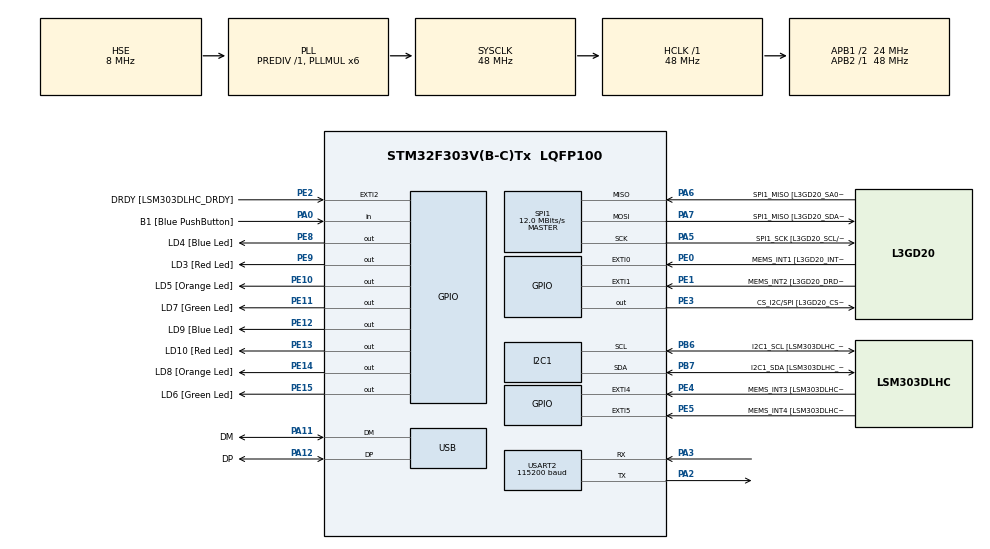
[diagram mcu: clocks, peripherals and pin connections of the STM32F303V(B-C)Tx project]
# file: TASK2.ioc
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I2C1.Timing=0x00201D2B
I2C1.Timing-I2C=0x2000090E
Mcu.Family=STM32F3
Mcu.Name=STM32F303V(B-C)Tx
Mcu.Package=LQFP100
NVIC.PriorityGroup=NVIC_PRIORITYGROUP_0
PA0.GPIO_Label=B1 [Blue PushButton]
PA0.Signal=GPIO_Input
PA11.GPIO_Label=DM
PA11.Mode=Device
PA11.Signal=USB_DM
PA12.GPIO_Label=DP
PA12.Mode=Device
PA12.Signal=USB_DP
PA13.GPIO_Label=SWDIO
PA13.Mode=Serial_Wire
PA13.Signal=SYS_JTMS-SWDIO
PA14.GPIO_Label=SWCLK
PA14.Mode=Serial_Wire
PA14.Signal=SYS_JTCK-SWCLK
PA2.Mode=Asynchronous
PA2.Signal=USART2_TX
PA3.Mode=Asynchronous
PA3.Signal=USART2_RX
PA5.GPIO_Label=SPI1_SCK [L3GD20_SCL/SPC]
PA5.Mode=Full_Duplex_Master
PA5.Signal=SPI1_SCK
PA6.GPIO_Label=SPI1_MISO [L3GD20_SA0/SDO]
PA6.Mode=Full_Duplex_Master
PA6.Signal=SPI1_MISO
PA7.GPIO_Label=SPI1_MISO [L3GD20_SDA/SDI/SDO]
PA7.Mode=Full_Duplex_Master
PA7.Signal=SPI1_MOSI
PB3.GPIO_Label=SWO
PB3.Signal=SYS_JTDO-TRACESWO
PB6.GPIO_Label=I2C1_SCL [LSM303DLHC_SCL]
PB6.GPIO_Pu=GPIO_PULLUP
PB6.Mode=I2C
PB6.Signal=I2C1_SCL
PB7.GPIO_Label=I2C1_SDA [LSM303DLHC_SDA]
PB7.GPIO_Pu=GPIO_PULLUP
PB7.Mode=I2C
PB7.Signal=I2C1_SDA
PC14-OSC32_IN.GPIO_Label=OSC32_IN
PC14-OSC32_IN.Signal=RCC_OSC32_IN
PC15-OSC32_OUT.GPIO_Label=OSC32_OUT
PC15-OSC32_OUT.Signal=RCC_OSC32_OUT
PE0.GPIO_Label=MEMS_INT1 [L3GD20_INT1]
PE0.GPIO_ModeDefaultEXTI=GPIO_MODE_EVT_RISING
PE0.Signal=GPXTI0
PE1.GPIO_Label=MEMS_INT2 [L3GD20_DRDY/INT2]
PE1.GPIO_ModeDefaultEXTI=GPIO_MODE_EVT_RISING
PE1.Signal=GPXTI1
PE10.GPIO_Label=LD5 [Orange Led]
PE10.Signal=GPIO_Output
PE11.GPIO_Label=LD7 [Green Led]
PE11.Signal=GPIO_Output
PE12.GPIO_Label=LD9 [Blue Led]
PE12.Signal=GPIO_Output
PE13.GPIO_Label=LD10 [Red Led]
PE13.Signal=GPIO_Output
PE14.GPIO_Label=LD8 [Orange Led]
PE14.Signal=GPIO_Output
PE15.GPIO_Label=LD6 [Green Led]
PE15.Signal=GPIO_Output
PE2.GPIO_Label=DRDY [LSM303DLHC_DRDY]
PE2.GPIO_ModeDefaultEXTI=GPIO_MODE_EVT_RISING
PE2.Signal=GPXTI2
PE3.GPIO_Label=CS_I2C/SPI [L3GD20_CS_I2C/SPI]
PE3.Signal=GPIO_Output
PE4.GPIO_Label=MEMS_INT3 [LSM303DLHC_INT1]
PE4.GPIO_ModeDefaultEXTI=GPIO_MODE_EVT_RISING
PE4.Signal=GPXTI4
PE5.GPIO_Label=MEMS_INT4 [LSM303DLHC_INT2]
PE5.GPIO_ModeDefaultEXTI=GPIO_MODE_EVT_RISING
PE5.Signal=GPXTI5
PE8.GPIO_Label=LD4 [Blue Led]
PE8.Signal=GPIO_Output
PE9.GPIO_Label=LD3 [Red Led]
PE9.Signal=GPIO_Output
PF0-OSC_IN.GPIO_Label=OSC_IN
PF0-OSC_IN.Mode=HSE-External-Clock-Source
PF0-OSC_IN.Signal=RCC_OSC_IN
PF1-OSC_OUT.GPIO_Label=OSC_OUT
PF1-OSC_OUT.Signal=RCC_OSC_OUT
ProjectManager.HeapSize=0x200
ProjectManager.StackSize=0x400
ProjectManager.TargetToolchain=CMake
RCC.AHBFreq_Value=48000000
RCC.APB1CLKDivider=RCC_HCLK_DIV2
RCC.APB1Freq_Value=24000000
RCC.APB1TimFreq_Value=48000000
RCC.APB2Freq_Value=48000000
RCC.APB2TimFreq_Value=48000000
RCC.CortexFreq_Value=48000000
RCC.HCLKFreq_Value=48000000
RCC.HSE_VALUE=8000000
RCC.HSI_VALUE=8000000
RCC.LSE_VALUE=32768
RCC.PLLMUL=RCC_PLL_MUL6
RCC.SYSCLKFreq_VALUE=48000000
RCC.SYSCLKSourceVirtual=RCC_SYSCLKSOURCE_PLLCLK
RCC.USBFreq_Value=48000000
SPI1.BaudRatePrescaler=SPI_BAUDRATEPRESCALER_4
SPI1.BaudRatePrescaler-Full_Duplex_Master=SPI_BAUDRATEPRESCALER_2
SPI1.CalculateBaudRate=12.0 MBits/s
SPI1.CalculateBaudRate-Full_Duplex_Master=24.0 MBits/s
SPI1.Direction=SPI_DIRECTION_2LINES
SPI1.Mode=SPI_MODE_MASTER
SPI1.Mode-Full_Duplex_Master=SPI_MODE_MASTER
SPI1.VirtualType=VM_MASTER
USART2.BaudRate=115200
USART2.VirtualMode-Asynchronous=VM_ASYNC
board=STM32F3DISCOVERY

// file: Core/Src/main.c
/* USER CODE BEGIN Header */
/**
 ******************************************************************************
 * @file           : main.c
 * @brief          : Main program body
 ******************************************************************************
 * @attention
 *
 * Copyright (c) 2025 STMicroelectronics.
 * All rights reserved.
 *
 * This software is licensed under terms that can be found in the LICENSE file
 * in the root directory of this software component.
 * If no LICENSE file comes with this software, it is provided AS-IS.
 *
 ******************************************************************************
 */
/* USER CODE END Header */
#include "main.h"
#include "stdio.h"
#include "math.h"

I2C_HandleTypeDef hi2c1;

SPI_HandleTypeDef hspi1;

UART_HandleTypeDef huart2;

PCD_HandleTypeDef hpcd_USB_FS;

void SystemClock_Config(void);
static void MX_GPIO_Init(void);
static void MX_I2C1_Init(void);
static void MX_SPI1_Init(void);
static void MX_USART2_UART_Init(void);
static void MX_USB_PCD_Init(void);

/* USER CODE BEGIN 0 */
#define LSM303AGR_ACC_ADDR (0x19 << 1)

#define CTRL_REG1_A 0x20
#define CTRL_REG4_A 0x23
#define OUT_X_L_A 0x28
#define RAD_TO_DEG 57.2958f

#define I3G4250D_ADDR (0x69 << 1) // Gyro I2C address
#define WHO_AM_I_G 0x0F
#define CTRL_REG1_G 0x20
#define CTRL_REG4_G 0x23
#define OUT_X_L_G 0x28

typedef struct
{
  int16_t raw_ax, raw_ay, raw_az;
  float ax, ay, az;
  float ax_offset, ay_offset, az_offset;

  int16_t raw_gx, raw_gy, raw_gz;
  float gx, gy, gz;
} LSM_Data;

LSM_Data lsm;

int _write(int file, char *ptr, int len)
{
  HAL_UART_Transmit(&huart2, (uint8_t *)ptr, len, HAL_MAX_DELAY);
  return len;
}

// --- Function prototypes ---S
void Init_LSM(void);
void Init_Gyro(void);
void Read_LSM(LSM_Data *data, uint8_t apply_offset);
void Read_Gyro(LSM_Data *data);
void Offset_LSM(LSM_Data *data);
void Print_data(LSM_Data *data);

/* USER CODE END 0 */

int main(void)
{

  /* MCU Configuration--------------------------------------------------------*/

  /* Reset of all peripherals, Initializes the Flash interface and the Systick. */
  HAL_Init();

  /* Configure the system clock */
  SystemClock_Config();

  /* Initialize all configured peripherals */
  MX_GPIO_Init();
  MX_I2C1_Init();
  MX_SPI1_Init();
  MX_USART2_UART_Init();
  MX_USB_PCD_Init();
  /* USER CODE BEGIN 2 */
  printf("\r\n=== LSM303AGR Accelerometer Test ===\r\n");

  Init_LSM();
  Init_Gyro();
  Offset_LSM(&lsm);

  /* USER CODE END 2 */

  /* Infinite loop */
  while (1)
  {
    Read_LSM(&lsm, 1);
    Read_Gyro(&lsm);
    Print_data(&lsm);
    HAL_Delay(100);
  }
}

void Init_LSM(void)
{
  uint8_t data[2];

  // Enable all axes, 100 Hz, normal mode
  data[0] = CTRL_REG1_A;
  data[1] = 0x57;
  HAL_I2C_Master_Transmit(&hi2c1, LSM303AGR_ACC_ADDR, data, 2, HAL_MAX_DELAY);

  // ±2g, continuous update
  data[0] = CTRL_REG4_A;
  data[1] = 0x00;
  HAL_I2C_Master_Transmit(&hi2c1, LSM303AGR_ACC_ADDR, data, 2, HAL_MAX_DELAY);

  HAL_Delay(50);

  // Verify configuration
  uint8_t whoami = 0, ctrl1 = 0;
  HAL_I2C_Mem_Read(&hi2c1, LSM303AGR_ACC_ADDR, 0x0F, I2C_MEMADD_SIZE_8BIT, &whoami, 1, HAL_MAX_DELAY);
  HAL_I2C_Mem_Read(&hi2c1, LSM303AGR_ACC_ADDR, CTRL_REG1_A, I2C_MEMADD_SIZE_8BIT, &ctrl1, 1, HAL_MAX_DELAY);
  printf("WHO_AM_I = 0x%02X, CTRL_REG1_A = 0x%02X\r\n", whoami, ctrl1);

  printf("LSM303AGR Initialized\r\n");
}

void Init_Gyro(void)
{
  uint8_t data[2];

  // Enable all axes, normal mode, ODR = 95Hz
  data[0] = CTRL_REG1_G;
  data[1] = 0x0F;
  HAL_I2C_Master_Transmit(&hi2c1, I3G4250D_ADDR, data, 2, HAL_MAX_DELAY);

  // Full scale ±250 dps, continuous update
  data[0] = CTRL_REG4_G;
  data[1] = 0x00;
  HAL_I2C_Master_Transmit(&hi2c1, I3G4250D_ADDR, data, 2, HAL_MAX_DELAY);

  HAL_Delay(50);

  uint8_t whoami = 0;
  HAL_I2C_Mem_Read(&hi2c1, I3G4250D_ADDR, WHO_AM_I_G, I2C_MEMADD_SIZE_8BIT, &whoami, 1, HAL_MAX_DELAY);
  printf("I3G4250D WHO_AM_I = 0x%02X\r\n", whoami);
  printf("I3G4250D Gyro Initialized\r\n");
}

void Read_LSM(LSM_Data *data, uint8_t apply_offset)
{
  uint8_t raw[6];
  HAL_I2C_Mem_Read(&hi2c1, LSM303AGR_ACC_ADDR, OUT_X_L_A | 0x80, I2C_MEMADD_SIZE_8BIT, raw, 6, HAL_MAX_DELAY);

  data->raw_ax = (int16_t)((raw[1] << 8) | raw[0]);
  data->raw_ay = (int16_t)((raw[3] << 8) | raw[2]);
  data->raw_az = (int16_t)((raw[5] << 8) | raw[4]);

  float ax_scaled = data->raw_ax * 3.9f / 1000.0f;
  float ay_scaled = data->raw_ay * 3.9f / 1000.0f;
  float az_scaled = data->raw_az * 3.9f / 1000.0f;

  if (apply_offset)
  {
    data->ax = ax_scaled - data->ax_offset;
    data->ay = ay_scaled - data->ay_offset;
    data->az = az_scaled - data->az_offset;
  }
  else
  {
    data->ax = ax_scaled;
    data->ay = ay_scaled;
    data->az = az_scaled;
  }
}

void Read_Gyro(LSM_Data *data)
{
  uint8_t raw[6];
  HAL_I2C_Mem_Read(&hi2c1, I3G4250D_ADDR, OUT_X_L_G | 0x80, I2C_MEMADD_SIZE_8BIT, raw, 6, HAL_MAX_DELAY);

  data->raw_gx = (int16_t)((raw[1] << 8) | raw[0]);
  data->raw_gy = (int16_t)((raw[3] << 8) | raw[2]);
  data->raw_gz = (int16_t)((raw[5] << 8) | raw[4]);

  // Convert to dps (°/s): sensitivity = 8.75 mdps/LSB for ±250dps range
  data->gx = data->raw_gx;
  data->gy = data->raw_gy ;
  data->gz = data->raw_gz;
}

void Offset_LSM(LSM_Data *data)
{
  float sum_x = 0, sum_y = 0, sum_z = 0;
  uint8_t i;

  printf("Calibrating offsets... Keep sensor still.\r\n");

  for (i = 0; i < 20; i++)
  {
    Read_LSM(data, 0); // Read without subtracting offset
    sum_x += data->ax;
    sum_y += data->ay;
    sum_z += data->az;
    HAL_Delay(100);
  }

  data->ax_offset = sum_x / 20.0f;
  data->ay_offset = sum_y / 20.0f;
  data->az_offset = sum_z / 20.0f;

  printf("Offsets -> X: %.3f, Y: %.3f, Z: %.3f\r\n", data->ax_offset, data->ay_offset, data->az_offset);
}

void Print_data(LSM_Data *data)
{
  printf("%d,%d,%d,%d,%d,%d\r\n",data->gx,data->gy,data->gz,data->ax,data->ay,data->az);
}

void SystemClock_Config(void)
{
  RCC_OscInitTypeDef RCC_OscInitStruct = {0};
  RCC_ClkInitTypeDef RCC_ClkInitStruct = {0};
  RCC_PeriphCLKInitTypeDef PeriphClkInit = {0};

  /** Initializes the RCC Oscillators according to the specified parameters
   * in the RCC_OscInitTypeDef structure.
   */
  RCC_OscInitStruct.OscillatorType = RCC_OSCILLATORTYPE_HSI | RCC_OSCILLATORTYPE_HSE;
  RCC_OscInitStruct.HSEState = RCC_HSE_BYPASS;
  RCC_OscInitStruct.HSEPredivValue = RCC_HSE_PREDIV_DIV1;
  RCC_OscInitStruct.HSIState = RCC_HSI_ON;
  RCC_OscInitStruct.HSICalibrationValue = RCC_HSICALIBRATION_DEFAULT;
  RCC_OscInitStruct.PLL.PLLState = RCC_PLL_ON;
  RCC_OscInitStruct.PLL.PLLSource = RCC_PLLSOURCE_HSE;
  RCC_OscInitStruct.PLL.PLLMUL = RCC_PLL_MUL6;
  if (HAL_RCC_OscConfig(&RCC_OscInitStruct) != HAL_OK)
  {
    Error_Handler();
  }

  /** Initializes the CPU, AHB and APB buses clocks
   */
  RCC_ClkInitStruct.ClockType = RCC_CLOCKTYPE_HCLK | RCC_CLOCKTYPE_SYSCLK | RCC_CLOCKTYPE_PCLK1 | RCC_CLOCKTYPE_PCLK2;
  RCC_ClkInitStruct.SYSCLKSource = RCC_SYSCLKSOURCE_PLLCLK;
  RCC_ClkInitStruct.AHBCLKDivider = RCC_SYSCLK_DIV1;
  RCC_ClkInitStruct.APB1CLKDivider = RCC_HCLK_DIV2;
  RCC_ClkInitStruct.APB2CLKDivider = RCC_HCLK_DIV1;

  if (HAL_RCC_ClockConfig(&RCC_ClkInitStruct, FLASH_LATENCY_1) != HAL_OK)
  {
    Error_Handler();
  }
  PeriphClkInit.PeriphClockSelection = RCC_PERIPHCLK_USB | RCC_PERIPHCLK_USART2 | RCC_PERIPHCLK_I2C1;
  PeriphClkInit.Usart2ClockSelection = RCC_USART2CLKSOURCE_PCLK1;
  PeriphClkInit.I2c1ClockSelection = RCC_I2C1CLKSOURCE_HSI;
  PeriphClkInit.USBClockSelection = RCC_USBCLKSOURCE_PLL;
  if (HAL_RCCEx_PeriphCLKConfig(&PeriphClkInit) != HAL_OK)
  {
    Error_Handler();
  }
}

static void MX_I2C1_Init(void)
{

  hi2c1.Instance = I2C1;
  hi2c1.Init.Timing = 0x00201D2B;
  hi2c1.Init.OwnAddress1 = 0;
  hi2c1.Init.AddressingMode = I2C_ADDRESSINGMODE_7BIT;
  hi2c1.Init.DualAddressMode = I2C_DUALADDRESS_DISABLE;
  hi2c1.Init.OwnAddress2 = 0;
  hi2c1.Init.OwnAddress2Masks = I2C_OA2_NOMASK;
  hi2c1.Init.GeneralCallMode = I2C_GENERALCALL_DISABLE;
  hi2c1.Init.NoStretchMode = I2C_NOSTRETCH_DISABLE;
  if (HAL_I2C_Init(&hi2c1) != HAL_OK)
  {
    Error_Handler();
  }

  /** Configure Analogue filter
   */
  if (HAL_I2CEx_ConfigAnalogFilter(&hi2c1, I2C_ANALOGFILTER_ENABLE) != HAL_OK)
  {
    Error_Handler();
  }

  /** Configure Digital filter
   */
  if (HAL_I2CEx_ConfigDigitalFilter(&hi2c1, 0) != HAL_OK)
  {
    Error_Handler();
  }
}

static void MX_SPI1_Init(void)
{

  /* SPI1 parameter configuration*/
  hspi1.Instance = SPI1;
  hspi1.Init.Mode = SPI_MODE_MASTER;
  hspi1.Init.Direction = SPI_DIRECTION_2LINES;
  hspi1.Init.DataSize = SPI_DATASIZE_4BIT;
  hspi1.Init.CLKPolarity = SPI_POLARITY_LOW;
  hspi1.Init.CLKPhase = SPI_PHASE_1EDGE;
  hspi1.Init.NSS = SPI_NSS_SOFT;
  hspi1.Init.BaudRatePrescaler = SPI_BAUDRATEPRESCALER_4;
  hspi1.Init.FirstBit = SPI_FIRSTBIT_MSB;
  hspi1.Init.TIMode = SPI_TIMODE_DISABLE;
  hspi1.Init.CRCCalculation = SPI_CRCCALCULATION_DISABLE;
  hspi1.Init.CRCPolynomial = 7;
  hspi1.Init.CRCLength = SPI_CRC_LENGTH_DATASIZE;
  hspi1.Init.NSSPMode = SPI_NSS_PULSE_ENABLE;
  if (HAL_SPI_Init(&hspi1) != HAL_OK)
  {
    Error_Handler();
  }
}

static void MX_USART2_UART_Init(void)
{

  huart2.Instance = USART2;
  huart2.Init.BaudRate = 115200;
  huart2.Init.WordLength = UART_WORDLENGTH_8B;
  huart2.Init.StopBits = UART_STOPBITS_1;
  huart2.Init.Parity = UART_PARITY_NONE;
  huart2.Init.Mode = UART_MODE_TX_RX;
  huart2.Init.HwFlowCtl = UART_HWCONTROL_NONE;
  huart2.Init.OverSampling = UART_OVERSAMPLING_16;
  huart2.Init.OneBitSampling = UART_ONE_BIT_SAMPLE_DISABLE;
  huart2.AdvancedInit.AdvFeatureInit = UART_ADVFEATURE_NO_INIT;
  if (HAL_UART_Init(&huart2) != HAL_OK)
  {
    Error_Handler();
  }
}

static void MX_USB_PCD_Init(void)
{

  hpcd_USB_FS.Instance = USB;
  hpcd_USB_FS.Init.dev_endpoints = 8;
  hpcd_USB_FS.Init.speed = PCD_SPEED_FULL;
  hpcd_USB_FS.Init.phy_itface = PCD_PHY_EMBEDDED;
  hpcd_USB_FS.Init.low_power_enable = DISABLE;
  hpcd_USB_FS.Init.battery_charging_enable = DISABLE;
  if (HAL_PCD_Init(&hpcd_USB_FS) != HAL_OK)
  {
    Error_Handler();
  }
}

static void MX_GPIO_Init(void)
{
  GPIO_InitTypeDef GPIO_InitStruct = {0};

  /* GPIO Ports Clock Enable */
  __HAL_RCC_GPIOE_CLK_ENABLE();
  __HAL_RCC_GPIOC_CLK_ENABLE();
  __HAL_RCC_GPIOF_CLK_ENABLE();
  __HAL_RCC_GPIOA_CLK_ENABLE();
  __HAL_RCC_GPIOB_CLK_ENABLE();

  /*Configure GPIO pin Output Level */
  HAL_GPIO_WritePin(GPIOE, CS_I2C_SPI_Pin | LD4_Pin | LD3_Pin | LD5_Pin | LD7_Pin | LD9_Pin | LD10_Pin | LD8_Pin | LD6_Pin, GPIO_PIN_RESET);

  /*Configure GPIO pins : DRDY_Pin MEMS_INT3_Pin MEMS_INT4_Pin MEMS_INT1_Pin
                           MEMS_INT2_Pin */
  GPIO_InitStruct.Pin = DRDY_Pin | MEMS_INT3_Pin | MEMS_INT4_Pin | MEMS_INT1_Pin | MEMS_INT2_Pin;
  GPIO_InitStruct.Mode = GPIO_MODE_EVT_RISING;
  GPIO_InitStruct.Pull = GPIO_NOPULL;
  HAL_GPIO_Init(GPIOE, &GPIO_InitStruct);

  /*Configure GPIO pins : CS_I2C_SPI_Pin LD4_Pin LD3_Pin LD5_Pin
                           LD7_Pin LD9_Pin LD10_Pin LD8_Pin
                           LD6_Pin */
  GPIO_InitStruct.Pin = CS_I2C_SPI_Pin | LD4_Pin | LD3_Pin | LD5_Pin | LD7_Pin | LD9_Pin | LD10_Pin | LD8_Pin | LD6_Pin;
  GPIO_InitStruct.Mode = GPIO_MODE_OUTPUT_PP;
  GPIO_InitStruct.Pull = GPIO_NOPULL;
  GPIO_InitStruct.Speed = GPIO_SPEED_FREQ_LOW;
  HAL_GPIO_Init(GPIOE, &GPIO_InitStruct);

  /*Configure GPIO pin : B1_Pin */
  GPIO_InitStruct.Pin = B1_Pin;
  GPIO_InitStruct.Mode = GPIO_MODE_INPUT;
  GPIO_InitStruct.Pull = GPIO_NOPULL;
  HAL_GPIO_Init(B1_GPIO_Port, &GPIO_InitStruct);

}

void Error_Handler(void)
{
  __disable_irq();
  while (1)
  {
  }
}
